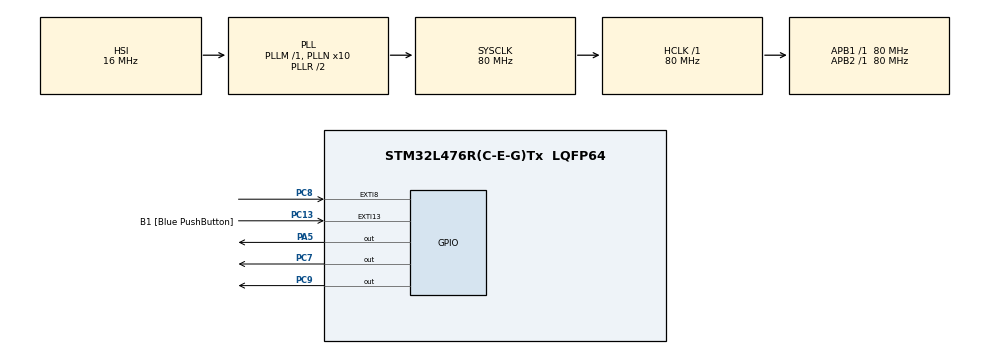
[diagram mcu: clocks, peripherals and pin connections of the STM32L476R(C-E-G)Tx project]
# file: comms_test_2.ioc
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Mcu.Family=STM32L4
Mcu.Name=STM32L476R(C-E-G)Tx
Mcu.Package=LQFP64
NUCLEO-L476RG.LD2=true
NVIC.EXTI15_10_IRQn=true\:0\:0\:false\:false\:true\:true\:true\:true
NVIC.EXTI9_5_IRQn=true\:0\:0\:false\:false\:true\:true\:true\:true
NVIC.PriorityGroup=NVIC_PRIORITYGROUP_4
PA13\ (JTMS-SWDIO).GPIO_Label=TMS
PA13\ (JTMS-SWDIO).Signal=SYS_JTMS-SWDIO
PA14\ (JTCK-SWCLK).GPIO_Label=TCK
PA14\ (JTCK-SWCLK).Signal=SYS_JTCK-SWCLK
PA2.GPIO_Label=USART_TX
PA2.GPIO_Mode=GPIO_MODE_AF_PP
PA2.GPIO_PuPd=GPIO_NOPULL
PA2.GPIO_Speed=GPIO_SPEED_FREQ_VERY_HIGH
PA2.Signal=USART2_TX
PA3.GPIO_Label=USART_RX
PA3.GPIO_Mode=GPIO_MODE_AF_PP
PA3.GPIO_PuPd=GPIO_NOPULL
PA3.GPIO_Speed=GPIO_SPEED_FREQ_VERY_HIGH
PA3.Signal=USART2_RX
PA5.Signal=GPIO_Output
PB3\ (JTDO-TRACESWO).GPIO_Label=SWO
PB3\ (JTDO-TRACESWO).Signal=SYS_JTDO-SWO
PC13.GPIO_Label=B1 [Blue PushButton]
PC13.GPIO_ModeDefaultEXTI=GPIO_MODE_IT_RISING_FALLING
PC13.GPIO_PuPd=GPIO_NOPULL
PC13.Signal=GPXTI13
PC14-OSC32_IN\ (PC14).Signal=RCC_OSC32_IN
PC15-OSC32_OUT\ (PC15).Signal=RCC_OSC32_OUT
PC7.Signal=GPIO_Output
PC8.GPIO_ModeDefaultEXTI=GPIO_MODE_IT_RISING_FALLING
PC8.Signal=GPXTI8
PC9.Signal=GPIO_Output
PH0-OSC_IN\ (PH0).Signal=RCC_OSC_IN
PH1-OSC_OUT\ (PH1).Signal=RCC_OSC_OUT
ProjectManager.HeapSize=0x200
ProjectManager.StackSize=0x400
ProjectManager.TargetToolchain=STM32CubeIDE
RCC.ADCFreq_Value=64000000
RCC.AHBFreq_Value=80000000
RCC.APB1Freq_Value=80000000
RCC.APB1TimFreq_Value=80000000
RCC.APB2Freq_Value=80000000
RCC.APB2TimFreq_Value=80000000
RCC.CortexFreq_Value=80000000
RCC.HCLKFreq_Value=80000000
RCC.HSE_VALUE=8000000
RCC.HSI_VALUE=16000000
RCC.LSE_VALUE=32768
RCC.MSI_VALUE=4000000
RCC.PLLN=10
RCC.PLLSourceVirtual=RCC_PLLSOURCE_HSI
RCC.PREFETCH_ENABLE=1
RCC.SYSCLKFreq_VALUE=80000000
RCC.SYSCLKSource=RCC_SYSCLKSOURCE_PLLCLK
RCC.USBFreq_Value=64000000
RCC.VCOOutputFreq_Value=160000000
VP_NUCLEO-L476RG_VS_BSP_COMMON.Mode=COMMON
board=NUCLEO-L476RG

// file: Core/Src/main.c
/* USER CODE BEGIN Header */
/**
  ******************************************************************************
  * @file           : main.c
  * @brief          : Main program body
  ******************************************************************************
  * @attention
  *
  * Copyright (c) 2026 STMicroelectronics.
  * All rights reserved.
  *
  * This software is licensed under terms that can be found in the LICENSE file
  * in the root directory of this software component.
  * If no LICENSE file comes with this software, it is provided AS-IS.
  *
  ******************************************************************************
  */
/* USER CODE END Header */
#include "main.h"

void SystemClock_Config(void);
static void MX_GPIO_Init(void);

/* USER CODE BEGIN 0 */
volatile uint8_t buttonPressed = 0;
/* USER CODE END 0 */

int main(void)
{

  /* USER CODE BEGIN 1 */
	uint32_t lastToggle = 0;
  /* USER CODE END 1 */

  /* MCU Configuration--------------------------------------------------------*/

  /* Reset of all peripherals, Initializes the Flash interface and the Systick. */
  HAL_Init();

  /* Configure the system clock */
  SystemClock_Config();

  /* Initialize all configured peripherals */
  MX_GPIO_Init();

  /* Initialize leds */
  BSP_LED_Init(LED_GREEN);

  /* Infinite loop */
  /* USER CODE BEGIN WHILE */
  while (1)
  {
	  if(HAL_GetTick() - lastToggle > 500){
		  HAL_GPIO_TogglePin(GPIOC, GPIO_PIN_7);
		  lastToggle = HAL_GetTick();
	  }

	  if(buttonPressed){
		  HAL_GPIO_WritePin(GPIOA, GPIO_PIN_5, GPIO_PIN_SET);
	  }
	  else{
		  HAL_GPIO_WritePin(GPIOA, GPIO_PIN_5, GPIO_PIN_RESET);
	  }

    /* USER CODE END WHILE */

  }
}

void SystemClock_Config(void)
{
  RCC_OscInitTypeDef RCC_OscInitStruct = {0};
  RCC_ClkInitTypeDef RCC_ClkInitStruct = {0};

  /** Configure the main internal regulator output voltage
  */
  if (HAL_PWREx_ControlVoltageScaling(PWR_REGULATOR_VOLTAGE_SCALE1) != HAL_OK)
  {
    Error_Handler();
  }

  /** Initializes the RCC Oscillators according to the specified parameters
  * in the RCC_OscInitTypeDef structure.
  */
  RCC_OscInitStruct.OscillatorType = RCC_OSCILLATORTYPE_HSI;
  RCC_OscInitStruct.HSIState = RCC_HSI_ON;
  RCC_OscInitStruct.HSICalibrationValue = RCC_HSICALIBRATION_DEFAULT;
  RCC_OscInitStruct.PLL.PLLState = RCC_PLL_ON;
  RCC_OscInitStruct.PLL.PLLSource = RCC_PLLSOURCE_HSI;
  RCC_OscInitStruct.PLL.PLLM = 1;
  RCC_OscInitStruct.PLL.PLLN = 10;
  RCC_OscInitStruct.PLL.PLLP = RCC_PLLP_DIV7;
  RCC_OscInitStruct.PLL.PLLQ = RCC_PLLQ_DIV2;
  RCC_OscInitStruct.PLL.PLLR = RCC_PLLR_DIV2;
  if (HAL_RCC_OscConfig(&RCC_OscInitStruct) != HAL_OK)
  {
    Error_Handler();
  }

  /** Initializes the CPU, AHB and APB buses clocks
  */
  RCC_ClkInitStruct.ClockType = RCC_CLOCKTYPE_HCLK|RCC_CLOCKTYPE_SYSCLK
                              |RCC_CLOCKTYPE_PCLK1|RCC_CLOCKTYPE_PCLK2;
  RCC_ClkInitStruct.SYSCLKSource = RCC_SYSCLKSOURCE_PLLCLK;
  RCC_ClkInitStruct.AHBCLKDivider = RCC_SYSCLK_DIV1;
  RCC_ClkInitStruct.APB1CLKDivider = RCC_HCLK_DIV1;
  RCC_ClkInitStruct.APB2CLKDivider = RCC_HCLK_DIV1;

  if (HAL_RCC_ClockConfig(&RCC_ClkInitStruct, FLASH_LATENCY_4) != HAL_OK)
  {
    Error_Handler();
  }
}

static void MX_GPIO_Init(void)
{
  GPIO_InitTypeDef GPIO_InitStruct = {0};

  /* GPIO Ports Clock Enable */
  __HAL_RCC_GPIOC_CLK_ENABLE();
  __HAL_RCC_GPIOH_CLK_ENABLE();
  __HAL_RCC_GPIOA_CLK_ENABLE();
  __HAL_RCC_GPIOB_CLK_ENABLE();

  /*Configure GPIO pin Output Level */
  HAL_GPIO_WritePin(GPIOC, GPIO_PIN_7|GPIO_PIN_9, GPIO_PIN_RESET);

  /*Configure GPIO pins : B1_Pin PC8 */
  GPIO_InitStruct.Pin = B1_Pin|GPIO_PIN_8;
  GPIO_InitStruct.Mode = GPIO_MODE_IT_RISING_FALLING;
  GPIO_InitStruct.Pull = GPIO_NOPULL;
  HAL_GPIO_Init(GPIOC, &GPIO_InitStruct);

  /*Configure GPIO pins : USART_TX_Pin USART_RX_Pin */
  GPIO_InitStruct.Pin = USART_TX_Pin|USART_RX_Pin;
  GPIO_InitStruct.Mode = GPIO_MODE_AF_PP;
  GPIO_InitStruct.Pull = GPIO_NOPULL;
  GPIO_InitStruct.Speed = GPIO_SPEED_FREQ_VERY_HIGH;
  GPIO_InitStruct.Alternate = GPIO_AF7_USART2;
  HAL_GPIO_Init(GPIOA, &GPIO_InitStruct);

  /*Configure GPIO pins : PC7 PC9 */
  GPIO_InitStruct.Pin = GPIO_PIN_7|GPIO_PIN_9;
  GPIO_InitStruct.Mode = GPIO_MODE_OUTPUT_PP;
  GPIO_InitStruct.Pull = GPIO_NOPULL;
  GPIO_InitStruct.Speed = GPIO_SPEED_FREQ_LOW;
  HAL_GPIO_Init(GPIOC, &GPIO_InitStruct);

  /* EXTI interrupt init*/
  HAL_NVIC_SetPriority(EXTI9_5_IRQn, 0, 0);
  HAL_NVIC_EnableIRQ(EXTI9_5_IRQn);

  HAL_NVIC_SetPriority(EXTI15_10_IRQn, 0, 0);
  HAL_NVIC_EnableIRQ(EXTI15_10_IRQn);

}

/* USER CODE BEGIN 4 */
void HAL_GPIO_EXTI_Callback(uint16_t GPIO_PIN){
	if(GPIO_PIN == GPIO_PIN_13){
		if(HAL_GPIO_ReadPin(GPIOC, GPIO_PIN_13)){
			buttonPressed = 0;

		}
		else{
			buttonPressed = 1;
		}
	}

}
/* USER CODE END 4 */

void Error_Handler(void)
{
  __disable_irq();
  while (1)
  {
  }
}
